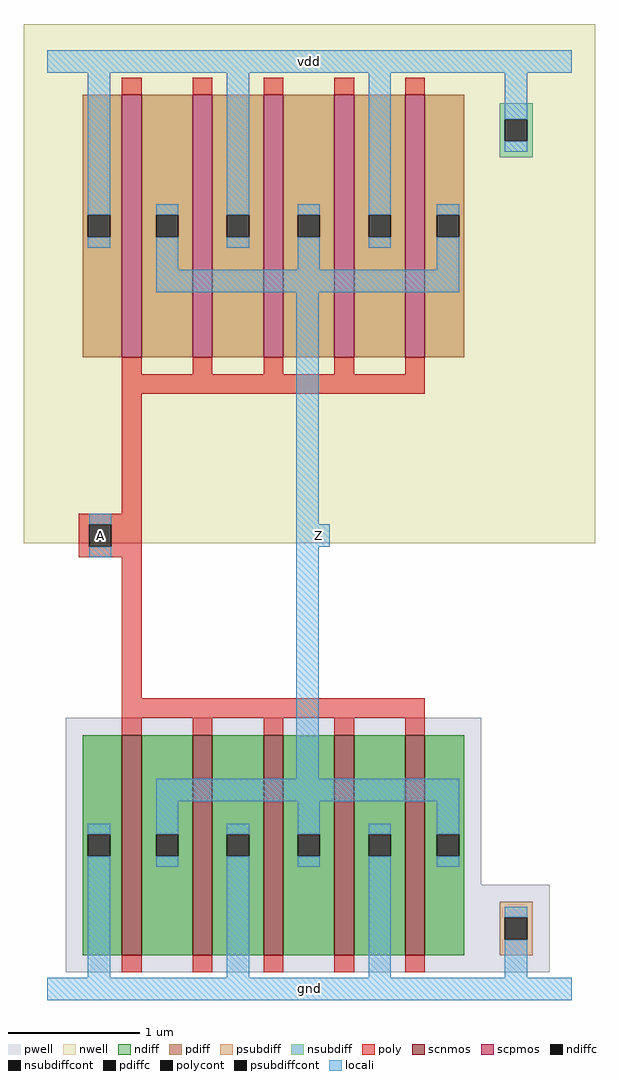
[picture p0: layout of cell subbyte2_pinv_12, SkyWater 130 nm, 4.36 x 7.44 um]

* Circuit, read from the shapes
.subckt subbyte2_pinv_12 A Z gnd vdd
XM1 Z A gnd gnd sky130_fd_pr__nfet_01v8 w=1.68 l=0.15 m=5
XM2 Z A vdd vdd sky130_fd_pr__pfet_01v8 w=2 l=0.15 m=5
.ends

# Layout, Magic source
magic
tech sky130A
magscale 1 2
<< nwell >>
rect -36 679 836 1471
<< pwell >>
rect 28 159 662 413
rect 28 25 766 159
<< scnmos >>
rect 114 51 144 387
rect 222 51 252 387
rect 330 51 360 387
rect 438 51 468 387
rect 546 51 576 387
<< scpmos >>
rect 114 963 144 1363
rect 222 963 252 1363
rect 330 963 360 1363
rect 438 963 468 1363
rect 546 963 576 1363
<< ndiff >>
rect 54 236 114 387
rect 54 202 62 236
rect 96 202 114 236
rect 54 51 114 202
rect 144 236 222 387
rect 144 202 166 236
rect 200 202 222 236
rect 144 51 222 202
rect 252 236 330 387
rect 252 202 274 236
rect 308 202 330 236
rect 252 51 330 202
rect 360 236 438 387
rect 360 202 382 236
rect 416 202 438 236
rect 360 51 438 202
rect 468 236 546 387
rect 468 202 490 236
rect 524 202 546 236
rect 468 51 546 202
rect 576 236 636 387
rect 576 202 594 236
rect 628 202 636 236
rect 576 51 636 202
<< pdiff >>
rect 54 1180 114 1363
rect 54 1146 62 1180
rect 96 1146 114 1180
rect 54 963 114 1146
rect 144 1180 222 1363
rect 144 1146 166 1180
rect 200 1146 222 1180
rect 144 963 222 1146
rect 252 1180 330 1363
rect 252 1146 274 1180
rect 308 1146 330 1180
rect 252 963 330 1146
rect 360 1180 438 1363
rect 360 1146 382 1180
rect 416 1146 438 1180
rect 360 963 438 1146
rect 468 1180 546 1363
rect 468 1146 490 1180
rect 524 1146 546 1180
rect 468 963 546 1146
rect 576 1180 636 1363
rect 576 1146 594 1180
rect 628 1146 636 1180
rect 576 963 636 1146
<< ndiffc >>
rect 62 202 96 236
rect 166 202 200 236
rect 274 202 308 236
rect 382 202 416 236
rect 490 202 524 236
rect 594 202 628 236
<< pdiffc >>
rect 62 1146 96 1180
rect 166 1146 200 1180
rect 274 1146 308 1180
rect 382 1146 416 1180
rect 490 1146 524 1180
rect 594 1146 628 1180
<< psubdiff >>
rect 690 109 740 133
rect 690 75 698 109
rect 732 75 740 109
rect 690 51 740 75
<< nsubdiff >>
rect 690 1326 740 1350
rect 690 1292 698 1326
rect 732 1292 740 1326
rect 690 1268 740 1292
<< psubdiffcont >>
rect 698 75 732 109
<< nsubdiffcont >>
rect 698 1292 732 1326
<< poly >>
rect 114 1363 144 1389
rect 222 1363 252 1389
rect 330 1363 360 1389
rect 438 1363 468 1389
rect 546 1363 576 1389
rect 114 937 144 963
rect 222 937 252 963
rect 330 937 360 963
rect 438 937 468 963
rect 546 937 576 963
rect 114 907 576 937
rect 114 724 144 907
rect 48 708 144 724
rect 48 674 64 708
rect 98 674 144 708
rect 48 658 144 674
rect 114 443 144 658
rect 114 413 576 443
rect 114 387 144 413
rect 222 387 252 413
rect 330 387 360 413
rect 438 387 468 413
rect 546 387 576 413
rect 114 25 144 51
rect 222 25 252 51
rect 330 25 360 51
rect 438 25 468 51
rect 546 25 576 51
<< polycont >>
rect 64 674 98 708
<< locali >>
rect 0 1397 800 1431
rect 62 1180 96 1397
rect 62 1130 96 1146
rect 166 1180 200 1196
rect 166 1096 200 1146
rect 274 1180 308 1397
rect 274 1130 308 1146
rect 382 1180 416 1196
rect 382 1096 416 1146
rect 490 1180 524 1397
rect 698 1326 732 1397
rect 698 1276 732 1292
rect 490 1130 524 1146
rect 594 1180 628 1196
rect 594 1096 628 1146
rect 166 1062 628 1096
rect 64 708 98 724
rect 64 658 98 674
rect 380 708 414 1062
rect 380 674 431 708
rect 380 320 414 674
rect 166 286 628 320
rect 62 236 96 252
rect 62 17 96 202
rect 166 236 200 286
rect 166 186 200 202
rect 274 236 308 252
rect 274 17 308 202
rect 382 236 416 286
rect 382 186 416 202
rect 490 236 524 252
rect 490 17 524 202
rect 594 236 628 286
rect 594 186 628 202
rect 698 109 732 125
rect 698 17 732 75
rect 0 -17 800 17
<< labels >>
rlabel locali s 81 691 81 691 4 A
port 1 nsew
rlabel locali s 414 691 414 691 4 Z
port 2 nsew
rlabel locali s 400 0 400 0 4 gnd
port 3 nsew
rlabel locali s 400 1414 400 1414 4 vdd
port 4 nsew
<< properties >>
string FIXED_BBOX 0 0 800 1079
<< end >>
